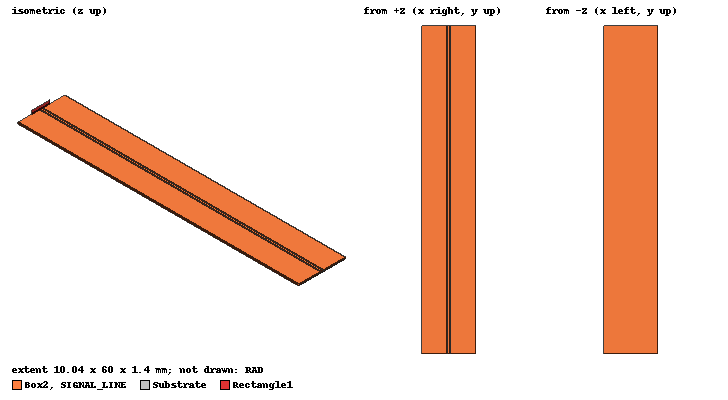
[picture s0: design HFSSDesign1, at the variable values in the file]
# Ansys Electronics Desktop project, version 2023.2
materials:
  vacuum: permittivity=1
  copper: permeability=0.999991 conductivity=58000000
  FR4_epoxy: permittivity=4.4 dielectric_loss_tangent=0.02

design HFSSDesign1 (HFSS, HFSS Modal Network, model units mm)
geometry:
  Substrate [FR4_epoxy] = box(corner=(5mm, 0mm, 0.032mm), size=(10mm, 60mm, 0.2mm))
  SIGNAL_LINE [copper] = box(corner=(9.83mm, 0mm, 0.232mm), size=(0.34mm, 60mm, 0.055mm))
  RAD [vacuum] = box(corner=(4.5mm, 0mm, -2mm), size=(11mm, 60mm, 5mm))
  Box1 = box(corner=(15mm, 0mm, 0.032mm), size=(-10mm, 60mm, -0.032mm))
  Box2 [copper] = box(corner=(15mm, 0mm, 0.232mm), size=(-4.6268mm, 60mm, 0.055mm))
  Box3 = box(corner=(5mm, 0mm, 0.232mm), size=(4.6268mm, 60mm, 0.055mm))
  Box4 = box(corner=(15.02mm, 0mm, 0mm), size=(-0.02mm, 60mm, 0.287mm))
  Box5 = box(corner=(4.98mm, 0mm, 0mm), size=(0.02mm, 60mm, 0.287mm))
  Box2.unite(Box4, Box1, Box3, Box5)
  Rectangle1 = rectangle(corner=(12mm, 0mm, 1mm), z_size=-1.4mm, x_size=-3.8mm)
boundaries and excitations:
  PerfE1: Perfect E Objects=SIGNAL_LINE
  Rad1: Radiation Objects=RAD
  PerfE2: Perfect E Objects=Box2
  1: Wave Port Objects=Rectangle1 WavePortType=Default NumModes=1 Modes{Mode1{IntLine{(10, 0, 0.287) -> (10, 0, 0)} CharImp=Zpi}}
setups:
  Setup1: HfssDrivenAuto AutoSolverSetting=Balanced SaveAnyFields=false Type=Interpolating
    sweep Sweep: 0GHz to 10GHz, 501 points;
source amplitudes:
  1:1: 1W 0deg
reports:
  Port Zo Plot 1: mag(Zo(1)) vs Freq on Setup1 : Sweep
